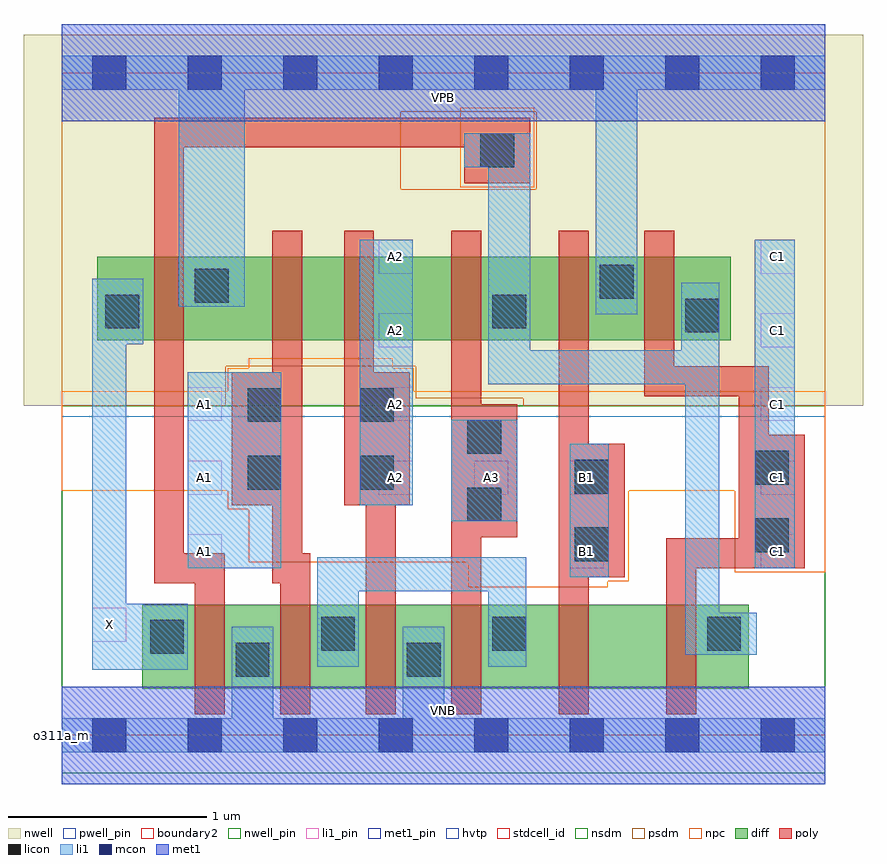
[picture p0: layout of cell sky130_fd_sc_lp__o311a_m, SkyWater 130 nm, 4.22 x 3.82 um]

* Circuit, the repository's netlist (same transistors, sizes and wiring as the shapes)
* Copyright 2020 The SkyWater PDK Authors
*
* Licensed under the Apache License, Version 2.0 (the "License");
* you may not use this file except in compliance with the License.
* You may obtain a copy of the License at
*
*     https://www.apache.org/licenses/LICENSE-2.0
*
* Unless required by applicable law or agreed to in writing, software
* distributed under the License is distributed on an "AS IS" BASIS,
* WITHOUT WARRANTIES OR CONDITIONS OF ANY KIND, either express or implied.
* See the License for the specific language governing permissions and
* limitations under the License.
*
* SPDX-License-Identifier: Apache-2.0

.SUBCKT sky130_fd_sc_lp__o311a_m A1 A2 A3 B1 C1 VGND VNB VPB VPWR X
*.PININFO A1:I A2:I A3:I B1:I C1:I VGND:I VNB:I VPB:I VPWR:I X:O
MMPA0 VPWR A1 sndA1 VPB sky130_fd_pr__pfet_01v8_hvt m=1 w=0.42U l=0.15U mult=1
+ sa=0.265 sb=0.265 sd=0.28 area=0.063 perim=1.14
MMPA1 sndA1 A2 sndA2 VPB sky130_fd_pr__pfet_01v8_hvt m=1 w=0.42U l=0.15U mult=1
+ sa=0.265 sb=0.265 sd=0.28 area=0.063 perim=1.14
MMPA2 sndA2 A3 y VPB sky130_fd_pr__pfet_01v8_hvt m=1 w=0.42U l=0.15U mult=1 sa=0.265
+ sb=0.265 sd=0.28 area=0.063 perim=1.14
MMPB0 VPWR B1 y VPB sky130_fd_pr__pfet_01v8_hvt m=1 w=0.42U l=0.15U mult=1 sa=0.265
+ sb=0.265 sd=0.28 area=0.063 perim=1.14
MMPC0 VPWR C1 y VPB sky130_fd_pr__pfet_01v8_hvt m=1 w=0.42U l=0.15U mult=1 sa=0.265
+ sb=0.265 sd=0.28 area=0.063 perim=1.14
MMIPX X y VPWR VPB sky130_fd_pr__pfet_01v8_hvt m=1 w=0.42U l=0.15U mult=1 sa=0.265
+ sb=0.265 sd=0.28 area=0.063 perim=1.14
MMNA0 pndA A1 VGND VNB sky130_fd_pr__nfet_01v8 m=1 w=0.42U l=0.15U mult=1 sa=0.265
+ sb=0.265 sd=0.28 area=0.063 perim=1.14
MMNA1 pndA A2 VGND VNB sky130_fd_pr__nfet_01v8 m=1 w=0.42U l=0.15U mult=1 sa=0.265
+ sb=0.265 sd=0.28 area=0.063 perim=1.14
MMNA2 pndA A3 VGND VNB sky130_fd_pr__nfet_01v8 m=1 w=0.42U l=0.15U mult=1 sa=0.265
+ sb=0.265 sd=0.28 area=0.063 perim=1.14
MMNB0 pndB B1 pndA VNB sky130_fd_pr__nfet_01v8 m=1 w=0.42U l=0.15U mult=1 sa=0.265
+ sb=0.265 sd=0.28 area=0.063 perim=1.14
MMNC0 y C1 pndB VNB sky130_fd_pr__nfet_01v8 m=1 w=0.42U l=0.15U mult=1 sa=0.265
+ sb=0.265 sd=0.28 area=0.063 perim=1.14
MMINX X y VGND VNB sky130_fd_pr__nfet_01v8 m=1 w=0.42U l=0.15U mult=1 sa=0.265
+ sb=0.265 sd=0.28 area=0.063 perim=1.14
.ENDS sky130_fd_sc_lp__o311a_m

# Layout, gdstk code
import gdstk
lib = gdstk.Library(unit=1e-6, precision=1e-09)
def R(c, l, rs):  # rectangles x0, y0, x1, y1
    for r in rs: c.add(gdstk.rectangle(r[:2], r[2:], *l))
def A(c, l, x, y, w, h, nx, ny, dx, dy):  # array of equal rectangles
    R(c, l, [(x+i*dx, y+j*dy, x+i*dx+w, y+j*dy+h) for i in range(nx) for j in range(ny)])
def P(c, l, *ps):  # polygons
    for p in ps: c.add(gdstk.Polygon(p, *l))
nwell_pin = (64, 16)
nwell = (64, 20)
diff = (65, 20)
poly = (66, 20)
licon = (66, 44)
li1_pin = (67, 16)
li1 = (67, 20)
mcon = (67, 44)
met1_pin = (68, 16)
met1 = (68, 20)
hvtp = (78, 44)
stdcell_id = (81, 4)
nsdm = (93, 44)
psdm = (94, 20)
npc = (95, 20)
pwell_pin = (122, 16)
boundary2 = (236, 0)

sky130_fd_sc_lp__o311a_m = lib.new_cell('sky130_fd_sc_lp__o311a_m')
R(sky130_fd_sc_lp__o311a_m, nwell_pin, [(0,3.085,3.84,3.33)])
R(sky130_fd_sc_lp__o311a_m, nwell, [(-0.19,1.655,4.03,3.52)])
R(sky130_fd_sc_lp__o311a_m, diff, [(0.405,0.235,3.455,0.655), (0.18,1.985,3.365,2.405)])
P(sky130_fd_sc_lp__o311a_m, poly, [(1.25,0.915),(1.21,0.915),(1.21,2.535),(1.06,2.535),(1.06,1.825),(0.855,1.825),(0.855,1.155),(1.06,1.155),(1.06,0.765),(1.1,0.765),(1.1,0.105),(1.25,0.105)],
  [(1.75,1.825),(1.57,1.825),(1.57,2.535),(1.42,2.535),(1.42,1.155),(1.53,1.155),(1.53,0.105),(1.68,0.105),(1.68,1.155),(1.75,1.155)],
  [(2.29,1.665),(2.11,1.665),(2.11,2.535),(1.96,2.535),(1.96,0.105),(2.11,0.105),(2.11,0.995),(2.29,0.995)],
  [(2.355,3.105),(0.465,3.105),(0.465,0.765),(0.67,0.765),(0.67,0.105),(0.82,0.105),(0.82,0.915),(0.615,0.915),(0.615,2.955),(2.025,2.955),(2.025,2.775),(2.355,2.775)],
  [(2.83,1.465),(2.65,1.465),(2.65,2.535),(2.5,2.535),(2.5,0.105),(2.65,0.105),(2.65,0.795),(2.83,0.795)],
  [(3.735,1.51),(3.555,1.51),(3.555,1.855),(3.08,1.855),(3.08,2.535),(2.93,2.535),(2.93,1.705),(3.405,1.705),(3.405,0.99),(3.04,0.99),(3.04,0.105),(3.19,0.105),(3.19,0.84),(3.735,0.84)])
R(sky130_fd_sc_lp__o311a_m, licon, [(0.875,0.295,1.045,0.465), (1.735,0.295,1.905,0.465), (0.445,0.41,0.615,0.58), (1.305,0.425,1.475,0.595), (2.165,0.425,2.335,0.595), (3.245,0.425,3.415,0.595), (2.58,0.875,2.75,1.045), (3.485,0.92,3.655,1.09), (2.04,1.075,2.21,1.245), (2.58,1.215,2.75,1.385), (0.935,1.235,1.105,1.405), (1.5,1.235,1.67,1.405), (3.485,1.26,3.655,1.43), (2.04,1.415,2.21,1.585), (0.935,1.575,1.105,1.745), (1.5,1.575,1.67,1.745), (3.135,2.025,3.305,2.195), (0.22,2.045,0.39,2.215), (2.165,2.045,2.335,2.215), (0.67,2.175,0.84,2.345), (2.705,2.195,2.875,2.365), (2.105,2.855,2.275,3.025)])
A(sky130_fd_sc_lp__o311a_m, li1_pin, 0.635, 0.84, 0.17, 0.17, 1, 3, 0, 0.37)
A(sky130_fd_sc_lp__o311a_m, li1_pin, 3.515, 0.84, 0.17, 0.17, 1, 5, 0, 0.37)
A(sky130_fd_sc_lp__o311a_m, li1_pin, 1.595, 1.21, 0.17, 0.17, 3, 1, 0.48, 0)
A(sky130_fd_sc_lp__o311a_m, li1_pin, 1.595, 1.58, 0.17, 0.17, 1, 3, 0, 0.37)
R(sky130_fd_sc_lp__o311a_m, li1_pin, [(0.155,0.47,0.325,0.64), (2.555,0.84,2.725,1.01)])
R(sky130_fd_sc_lp__o311a_m, li1, [(2.555,0.795,2.75,1.465), (0.635,0.84,1.105,1.825), (3.485,0.84,3.685,2.49), (1.96,1.075,2.29,1.585), (1.5,1.155,1.765,2.49)])
P(sky130_fd_sc_lp__o311a_m, li1, [(0.59,2.155),(0.59,3.245),(0,3.245),(0,3.415),(3.84,3.415),(3.84,3.245),(2.895,3.245),(2.895,2.115),(2.685,2.115),(2.685,3.245),(0.92,3.245),(0.92,2.155)],
  [(1.715,0.085),(1.715,0.545),(1.925,0.545),(1.925,0.085),(3.84,0.085),(3.84,-0.085),(0,-0.085),(0,0.085),(0.855,0.085),(0.855,0.545),(1.065,0.545),(1.065,0.085)],
  [(3.115,1.935),(3.115,2.275),(3.305,2.275),(3.305,0.615),(3.495,0.615),(3.495,0.405),(3.135,0.405),(3.135,1.765),(2.145,1.765),(2.145,2.855),(2.025,2.855),(2.025,3.025),(2.355,3.025),(2.355,1.935)],
  [(0.155,0.33),(0.155,2.295),(0.41,2.295),(0.41,1.965),(0.325,1.965),(0.325,0.66),(0.635,0.66),(0.635,0.33)],
  [(2.145,0.725),(1.495,0.725),(1.495,0.345),(1.285,0.345),(1.285,0.895),(2.335,0.895),(2.335,0.345),(2.145,0.345)])
A(sky130_fd_sc_lp__o311a_m, mcon, 0.155, -0.085, 0.17, 0.17, 8, 2, 0.48, 3.33)
R(sky130_fd_sc_lp__o311a_m, met1_pin, [(0,0,3.84,0.245), (0,3.085,3.84,3.33)])
R(sky130_fd_sc_lp__o311a_m, met1, [(0,-0.245,3.84,0.245), (0,3.085,3.84,3.575)])
R(sky130_fd_sc_lp__o311a_m, hvtp, [(0,1.6,3.84,3.33)])
R(sky130_fd_sc_lp__o311a_m, stdcell_id, [(0,0,3.84,3.33)])
R(sky130_fd_sc_lp__o311a_m, nsdm, [(0,-0.19,3.84,1.655)])
P(sky130_fd_sc_lp__o311a_m, psdm, [(3.84,3.52),(2.385,3.52),(2.385,2.745),(1.705,2.745),(1.705,3.135),(2.385,3.135),(2.385,3.52),(0,3.52),(0,1.655),(0.825,1.655),(0.825,1.855),(1.78,1.855),(1.78,1.695),(2.32,1.695),(2.32,1.655),(3.84,1.655)])
R(sky130_fd_sc_lp__o311a_m, npc, [(2.005,2.755,2.375,3.155)])
P(sky130_fd_sc_lp__o311a_m, npc, [(3.84,1.73),(1.77,1.73),(1.77,1.845),(1.665,1.845),(1.665,1.895),(0.94,1.895),(0.94,1.845),(0.835,1.845),(0.835,1.73),(0,1.73),(0,1.23),(0.835,1.23),(0.835,1.135),(0.94,1.135),(0.94,0.87),(2.045,0.87),(2.045,0.745),(2.745,0.745),(2.745,0.775),(2.85,0.775),(2.85,1.23),(3.385,1.23),(3.385,0.82),(3.84,0.82)])
R(sky130_fd_sc_lp__o311a_m, pwell_pin, [(0,0,3.84,0.245)])
R(sky130_fd_sc_lp__o311a_m, boundary2, [(0,0,3.84,3.33)])
sky130_fd_sc_lp__o311a_m.add(gdstk.Label('VNB', (1.92,0.123), layer=64, texttype=59))
sky130_fd_sc_lp__o311a_m.add(gdstk.Label('VPB', (1.92,3.208), layer=64, texttype=5))
sky130_fd_sc_lp__o311a_m.add(gdstk.Label('o311a_m', (0,0), layer=83, texttype=44))
sky130_fd_sc_lp__o311a_m.add(gdstk.Label('VPWR', (1.92,3.208), layer=68, texttype=5))
sky130_fd_sc_lp__o311a_m.add(gdstk.Label('VGND', (1.92,0.123), layer=68, texttype=5))
sky130_fd_sc_lp__o311a_m.add(gdstk.Label('A1', (0.72,0.925), layer=67, texttype=5))
sky130_fd_sc_lp__o311a_m.add(gdstk.Label('A1', (0.72,1.295), layer=67, texttype=5))
sky130_fd_sc_lp__o311a_m.add(gdstk.Label('A1', (0.72,1.665), layer=67, texttype=5))
sky130_fd_sc_lp__o311a_m.add(gdstk.Label('A2', (1.68,1.295), layer=67, texttype=5))
sky130_fd_sc_lp__o311a_m.add(gdstk.Label('A2', (1.68,1.665), layer=67, texttype=5))
sky130_fd_sc_lp__o311a_m.add(gdstk.Label('A2', (1.68,2.035), layer=67, texttype=5))
sky130_fd_sc_lp__o311a_m.add(gdstk.Label('A2', (1.68,2.405), layer=67, texttype=5))
sky130_fd_sc_lp__o311a_m.add(gdstk.Label('A3', (2.16,1.295), layer=67, texttype=5))
sky130_fd_sc_lp__o311a_m.add(gdstk.Label('C1', (3.6,0.925), layer=67, texttype=5))
sky130_fd_sc_lp__o311a_m.add(gdstk.Label('C1', (3.6,1.295), layer=67, texttype=5))
sky130_fd_sc_lp__o311a_m.add(gdstk.Label('C1', (3.6,1.665), layer=67, texttype=5))
sky130_fd_sc_lp__o311a_m.add(gdstk.Label('C1', (3.6,2.035), layer=67, texttype=5))
sky130_fd_sc_lp__o311a_m.add(gdstk.Label('C1', (3.6,2.405), layer=67, texttype=5))
sky130_fd_sc_lp__o311a_m.add(gdstk.Label('B1', (2.64,0.925), layer=67, texttype=5))
sky130_fd_sc_lp__o311a_m.add(gdstk.Label('B1', (2.64,1.295), layer=67, texttype=5))
sky130_fd_sc_lp__o311a_m.add(gdstk.Label('X', (0.24,0.555), layer=67, texttype=5))

lib.write_gds('sky130_fd_sc_lp__o311a_m.gds')
